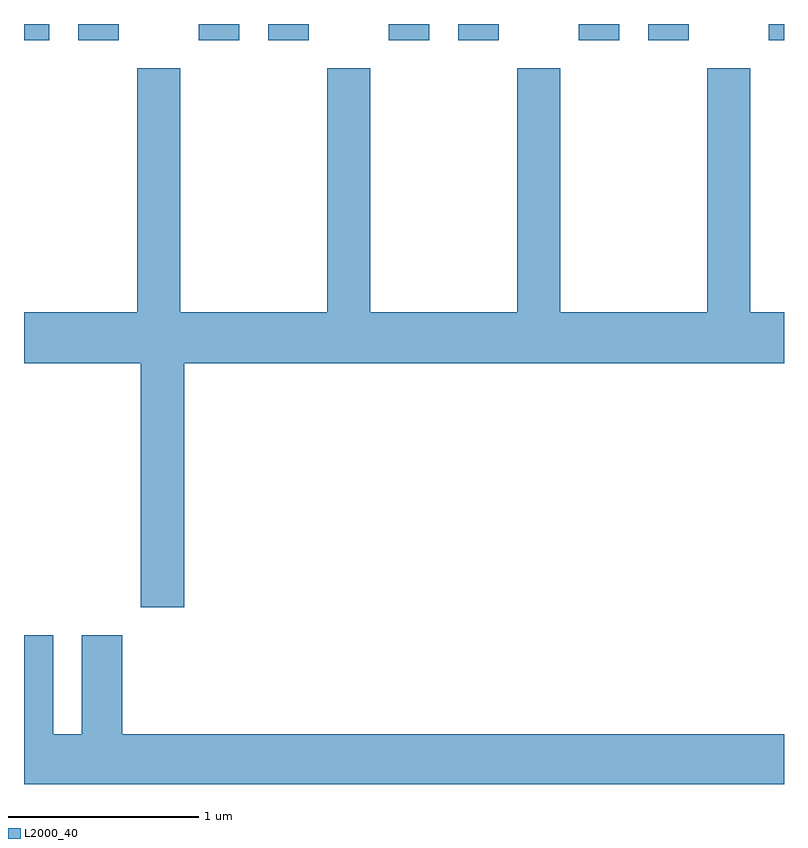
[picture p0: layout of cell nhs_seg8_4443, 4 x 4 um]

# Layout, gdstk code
import gdstk
lib = gdstk.Library(unit=1e-6, precision=1e-09)
def R(c, l, rs):  # rectangles x0, y0, x1, y1
    for r in rs: c.add(gdstk.rectangle(r[:2], r[2:], *l))
def P(c, l, *ps):  # polygons
    for p in ps: c.add(gdstk.Polygon(p, *l))
L2000_40 = (2000, 40)

nhs_seg8_4443 = lib.new_cell('nhs_seg8_4443')
R(nhs_seg8_4443, L2000_40, [(317.611,1920.256,317.744,1920.342), (317.896,1920.256,318.109,1920.342), (318.531,1920.256,318.744,1920.342), (318.896,1920.256,319.109,1920.342), (319.531,1920.256,319.744,1920.342), (319.896,1920.256,320.109,1920.342), (320.531,1920.256,320.744,1920.342), (320.896,1920.256,321.109,1920.342), (321.531,1920.256,321.611,1920.342)])
P(nhs_seg8_4443, L2000_40, [(318.454,1918.556),(321.611,1918.556),(321.611,1918.824),(321.434,1918.824),(321.434,1920.109),(321.206,1920.109),(321.206,1918.824),(320.434,1918.824),(320.434,1920.109),(320.206,1920.109),(320.206,1918.824),(319.434,1918.824),(319.434,1920.109),(319.206,1920.109),(319.206,1918.824),(318.434,1918.824),(318.434,1920.109),(318.206,1920.109),(318.206,1918.824),(317.611,1918.824),(317.611,1918.556),(318.226,1918.556),(318.226,1917.271),(318.454,1917.271)],
  [(321.611,1916.604),(318.129,1916.604),(318.129,1917.124),(317.916,1917.124),(317.916,1916.604),(317.764,1916.604),(317.764,1917.124),(317.611,1917.124),(317.611,1916.342),(321.611,1916.342)])

lib.write_gds('nhs_seg8_4443.gds')
